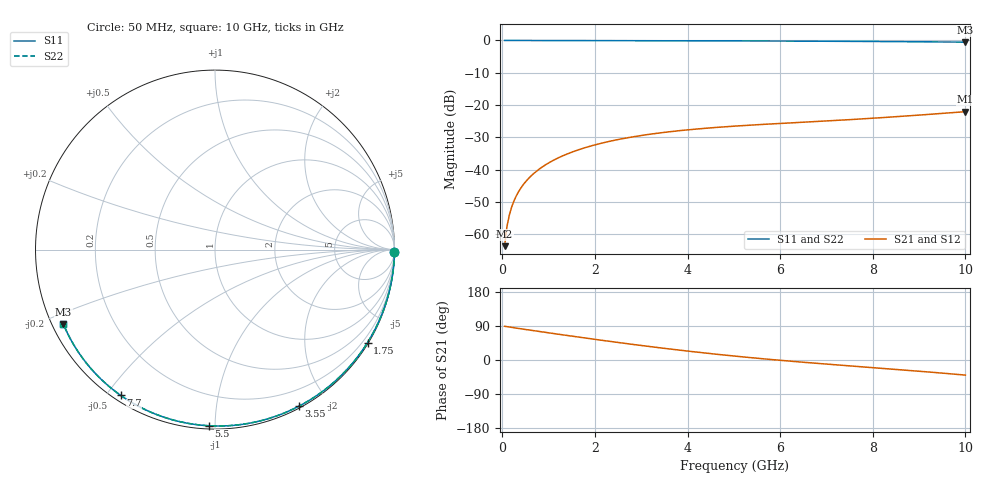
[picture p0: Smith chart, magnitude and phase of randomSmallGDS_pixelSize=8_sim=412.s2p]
! freq	dB(S11)	phase(S11)	dB(S12)	phase(S12)
!  dB(S21)	phase(S21)	dB(S22)	phase(S22)
!S-par simulation data
#  GHz  S  DB  R 50
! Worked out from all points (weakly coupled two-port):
!   200 points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, 50 MHz to 10 GHz, reference 50 ohm
!   highest |S21| = -22.06 dB at 10 GHz (marker M1); lowest = -63.7 dB at 50 MHz (marker M2)
!   lowest |S11| = -0.5 dB at 10 GHz (marker M3), VSWR 33.11, Z = 1.59 - j11.6 ohm
!   |S11| at or under -10 dB: nowhere
!   |S22| runs from -0.5 to 0.0 dB; largest |S21 - S12| = 0
!   S11 on the Smith chart (normalised r, x): 50 MHz: open; 1.75 GHz: 0.03, -3.56; 3.55 GHz: 0.02, -1.67; 5.5 GHz: 0.02, -0.97; 7.7 GHz: 0.02, -0.54; 10 GHz: 0.03, -0.23
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0.05  -0.00 -0.9  -63.74 89.0  -63.74 89.0  -0.00 -0.9
0.1  -0.00 -1.8  -57.72 88.0  -57.72 88.0  -0.00 -1.8
0.15  -0.00 -2.7  -54.21 87.1  -54.21 87.1  -0.00 -2.7
0.2  -0.00 -3.7  -51.72 86.1  -51.72 86.1  -0.00 -3.7
0.25  -0.00 -4.6  -49.79 85.2  -49.79 85.2  -0.00 -4.6
0.35  -0.00 -6.4  -46.89 83.3  -46.89 83.3  -0.00 -6.4
0.5  -0.01 -9.1  -43.83 80.6  -43.83 80.6  -0.01 -9.1
0.7  -0.01 -12.7  -40.97 77.0  -40.97 77.0  -0.01 -12.7
1  -0.02 -18.1  -37.96 71.7  -37.96 71.7  -0.02 -18.1
1.35  -0.03 -24.3  -35.47 65.6  -35.47 65.6  -0.03 -24.3
1.75  -0.04 -31.4  -33.39 58.7  -33.39 58.7  -0.04 -31.3
2.5  -0.06 -44.3  -30.70 46.2  -30.70 46.2  -0.06 -44.3
3.4  -0.08 -59.3  -28.65 32.2  -28.65 32.2  -0.08 -59.3
3.55  -0.09 -61.8  -28.39 30.0  -28.39 30.0  -0.09 -61.7
4.3  -0.11 -73.7  -27.31 19.5  -27.31 19.5  -0.11 -73.7
5.05  -0.14 -85.2  -26.51 9.9  -26.51 9.9  -0.14 -85.2
5.5  -0.16 -91.9  -26.12 4.7  -26.12 4.7  -0.16 -91.9
6.7  -0.22 -109.1  -25.18 -7.9  -25.18 -7.9  -0.22 -109.1
7.7  -0.29 -122.9  -24.37 -17.3  -24.37 -17.3  -0.29 -122.8
8.35  -0.34 -131.7  -23.77 -23.3  -23.77 -23.3  -0.34 -131.6
9.2  -0.43 -143.1  -22.92 -31.6  -22.92 -31.6  -0.43 -143.0
10  -0.52 -153.9  -22.06 -39.8  -22.06 -39.8  -0.52 -153.8
